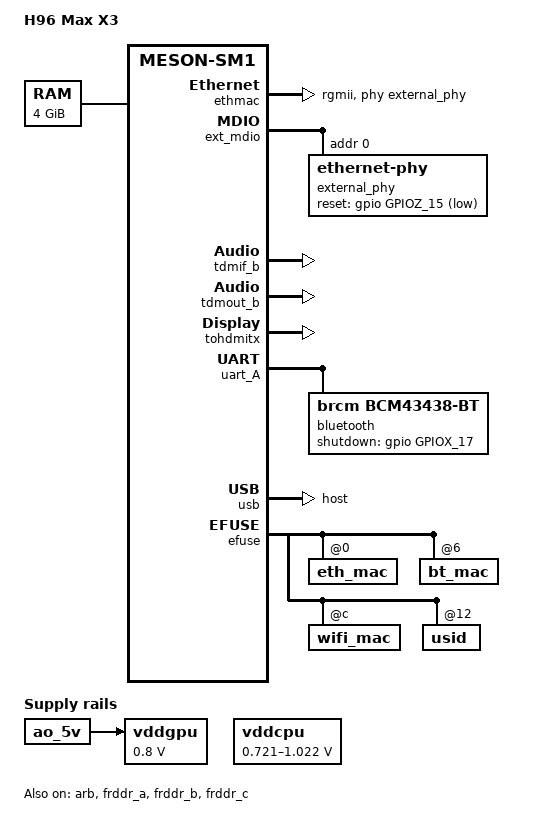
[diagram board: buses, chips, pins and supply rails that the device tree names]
// SPDX-License-Identifier: (GPL-2.0+ OR MIT)
/*
 * Copyright (c) 2019 BayLibre SAS. All rights reserved.
 * Copyright (c) 2020 Christian Hewitt <christianshewitt@gmail.com>
 * Copyright (c) 2021 flippy <uniqfreq@gmail.com>
 */

/dts-v1/;

#include "meson-sm1-ac2xx.dtsi"
#include <dt-bindings/sound/meson-g12a-tohdmitx.h>

/ {
	compatible = "amlogic,sm1";
	model = "H96 Max X3";

	memory@0 {
		device_type = "memory";
		reg = <0x0 0x0 0x0 0xFFFFFFFF>;
	};

	sound {
		compatible = "amlogic,axg-sound-card";
		model = "H96-MAX";
		audio-aux-devs = <&tdmout_b>;
		audio-routing = "TDMOUT_B IN 0", "FRDDR_A OUT 1",
				"TDMOUT_B IN 1", "FRDDR_B OUT 1",
				"TDMOUT_B IN 2", "FRDDR_C OUT 1",
				"TDM_B Playback", "TDMOUT_B OUT";

		assigned-clocks = <&clkc CLKID_MPLL2>,
				  <&clkc CLKID_MPLL0>,
				  <&clkc CLKID_MPLL1>;
		assigned-clock-parents = <0>, <0>, <0>;
		assigned-clock-rates = <294912000>,
				       <270950400>,
				       <393216000>;
		status = "okay";

		dai-link-0 {
			sound-dai = <&frddr_a>;
		};

		dai-link-1 {
			sound-dai = <&frddr_b>;
		};

		dai-link-2 {
			sound-dai = <&frddr_c>;
		};

		/* 8ch hdmi interface */
		dai-link-3 {
			sound-dai = <&tdmif_b>;
			dai-format = "i2s";
			dai-tdm-slot-tx-mask-0 = <1 1>;
			dai-tdm-slot-tx-mask-1 = <1 1>;
			dai-tdm-slot-tx-mask-2 = <1 1>;
			dai-tdm-slot-tx-mask-3 = <1 1>;
			mclk-fs = <256>;

			codec {
				sound-dai = <&tohdmitx TOHDMITX_I2S_IN_B>;
			};
		};

		/* hdmi glue */
		dai-link-4 {
			sound-dai = <&tohdmitx TOHDMITX_I2S_OUT>;

			codec {
				sound-dai = <&hdmi_tx>;
			};
		};
	};

	vddgpu: regulator-vddgpu {
		compatible = "regulator-fixed";
		regulator-name = "mali";
		regulator-min-microvolt = <800000>;
		regulator-max-microvolt = <800000>;
		vin-supply = <&ao_5v>;
		regulator-always-on;
	};
};

&vddcpu {
	regulator-min-microvolt = <721000>;
	regulator-max-microvolt = <1022000>;
	pwms = <&pwm_AO_cd 1 1250 0>;
};

&arb {
	status = "okay";
};

&clkc_audio {
	status = "okay";
};

&ethmac {
	status = "okay";

	pinctrl-0 = <&eth_pins>, <&eth_rgmii_pins>;
	pinctrl-names = "default";
	//phy-mode = "rgmii-txid";
	phy-mode = "rgmii";
	amlogic,tx-delay-ns = <2>;
	phy-handle = <&external_phy>;

	//rx-internal-delay-ps = <800>;

	snps,aal;
	snps,rxpbl = <0x8>;
	snps,txpbl = <0x8>;

	rx-fifo-depth = <4096>;
	tx-fifo-depth = <4096>;

	nvmem-cells = <&eth_mac>;
	nvmem-cell-names = "eth_mac";
};

&ext_mdio {
	external_phy: ethernet-phy@0 {
		/* 
		 * Realtek RTL8211F (0x001cc916) 
		 * JLSemi JL2101 (0x937c4032)
		 */
		reg = <0>;
		max-speed = <1000>;

		reset-assert-us = <10000>;
		reset-deassert-us = <80000>;
		reset-gpios = <&gpio GPIOZ_15 (GPIO_ACTIVE_LOW | GPIO_OPEN_DRAIN)>;

		interrupt-parent = <&gpio_intc>;
		/* MAC_INTR on GPIOZ_14 */
		interrupts = <26 IRQ_TYPE_LEVEL_LOW>;
	};
};

&frddr_a {
	status = "okay";
};

&frddr_b {
	status = "okay";
};

&frddr_c {
	status = "okay";
};

&tdmif_b {
	status = "okay";
};

&tdmout_b {
	status = "okay";
};

&tohdmitx {
	status = "okay";
};

&uart_A {
	status = "okay";

	pinctrl-0 = <&uart_a_pins>, <&uart_a_cts_rts_pins>;
	pinctrl-names = "default";
	uart-has-rtscts;

	bluetooth {
		compatible = "brcm,bcm43438-bt";
		shutdown-gpios = <&gpio GPIOX_17 GPIO_ACTIVE_HIGH>;
		max-speed = <2000000>;
		clocks = <&wifi32k>;
		clock-names = "lpo";
	};
};

&mali {
	mali-supply=<&vddgpu>;
};

&usb {
	dr_mode = "host";
};

/* SDIO */
&sd_emmc_a {
	///delete-property/ sd-uhs-sdr104;
        sd-uhs-sdr50;
	max-frequency = <100000000>;

        //sd-uhs-ddr50;
	//max-frequency = <50000000>;

	//sd-uhs-sdr104;
	//max-frequency = <200000000>;
};

/* Begin: fix hcy6355 wifi module problem */
&sdio_pins {
	mux {
		/delete-property/ bias-disable;
		bias-pull-up;
	};
};
/* End: fix hcy6355 wifi module problem */

/* SD card */
&sd_emmc_b {
	max-frequency = <50000000>;
};

/* eMMC */
&sd_emmc_c {
	max-frequency = <200000000>;
};

&cpu_opp_table {
	opp-100000000 {
		opp-hz = <0x00 100000000>;
		opp-microvolt = <730000>;
	};

	opp-250000000 {
		opp-hz = <0x00 250000000>;
		opp-microvolt = <730000>;
	};

	opp-500000000 {
		opp-hz = <0x00 500000000>;
		opp-microvolt = <730000>;
	};

	opp-667000000 {
		opp-hz = <0x00 667000000>;
		opp-microvolt = <730000>;
	};
	
	opp-2016000000 {
		status = "disabled";
	};
	
	opp-2100000000 {
		status = "disabled";
	};
};

&efuse {
	eth_mac: eth_mac@0 {
		reg = <0x0 0x06>;
	};

	bt_mac: bt_mac@6 {
		reg = <0x6 0x06>;
	};

	wifi_mac: wifi_mac@12 {
		reg = <0x0c 0x06>;
	};

	usid: usid@18 {
		reg = <0x12 0x10>;
	};
};
